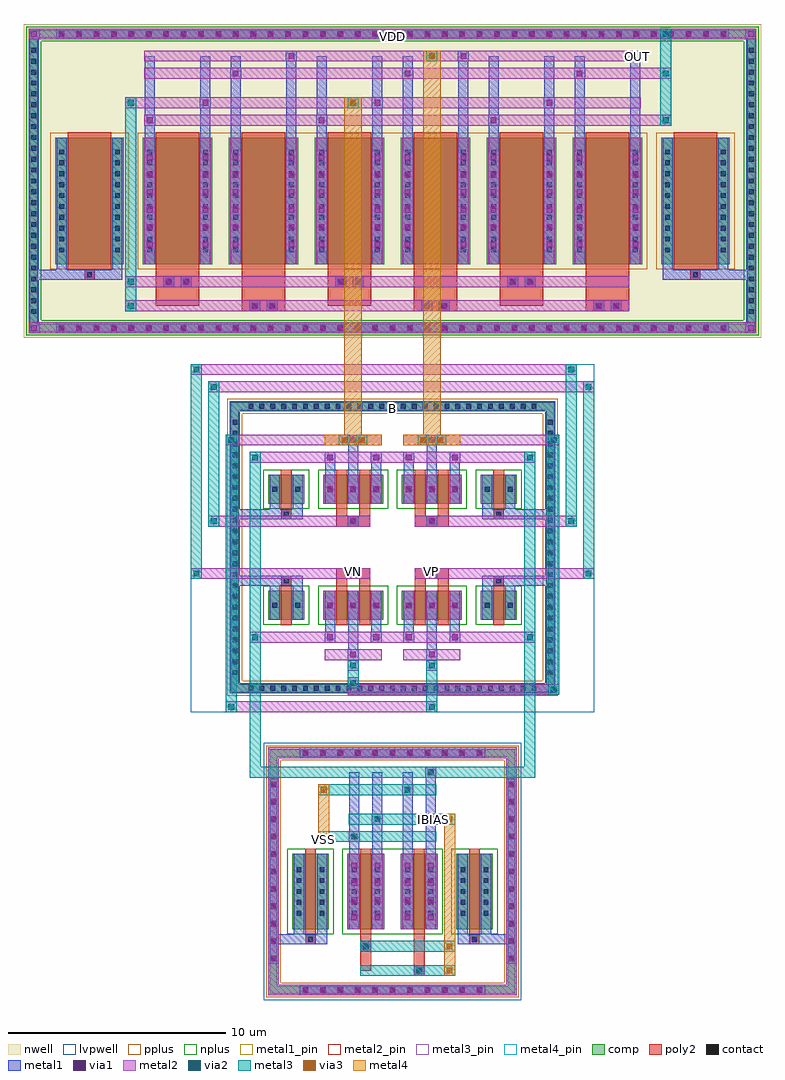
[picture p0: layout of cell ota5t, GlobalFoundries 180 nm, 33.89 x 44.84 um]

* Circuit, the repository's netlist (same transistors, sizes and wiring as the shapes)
* NGSPICE file created from ota5t.ext - technology: gf180mcuD

.subckt ota5t B VSS IBIAS VN VP VDD OUT
X0 a_n2175_3456# a_n2175_3456# VDD VDD pfet_03v3 ad=3.492p pd=12.84u as=3.492p ps=12.84u w=5.82u l=2u
X1 IBIAS IBIAS VSS B nfet_03v3 ad=2.07p pd=8.1u as=2.07p ps=8.1u w=3.45u l=0.5u
X2 B B B B nfet_03v3 ad=2.001p pd=8.06u as=14.1752p ps=62.8u w=3.45u l=0.5u
X3 a_n2175_3456# VP a_n638_572# B nfet_03v3 ad=0.3724p pd=1.89u as=0.798p ps=3.86u w=1.33u l=0.5u
X4 B B B B nfet_03v3 ad=0.7714p pd=3.82u as=0 ps=0 w=1.33u l=0.5u
X5 a_n638_572# VN OUT B nfet_03v3 ad=0.798p pd=3.86u as=0.3724p ps=1.89u w=1.33u l=0.5u
X6 B B B B nfet_03v3 ad=0.7714p pd=3.82u as=0 ps=0 w=1.33u l=0.5u
X7 VDD VDD VDD VDD pfet_03v3 ad=3.3756p pd=12.8u as=34.4544p ps=0.12824m w=5.82u l=2u
X8 B B B B nfet_03v3 ad=0.7714p pd=3.82u as=0 ps=0 w=1.33u l=0.5u
X9 OUT a_n2175_3456# VDD VDD pfet_03v3 ad=3.492p pd=12.84u as=3.492p ps=12.84u w=5.82u l=2u
X10 B B B B nfet_03v3 ad=2.001p pd=8.06u as=0 ps=0 w=3.45u l=0.5u
X11 OUT a_n2175_3456# VDD VDD pfet_03v3 ad=3.492p pd=12.84u as=3.492p ps=12.84u w=5.82u l=2u
X12 a_n2175_3456# VP a_n638_572# B nfet_03v3 ad=0.3724p pd=1.89u as=0.798p ps=3.86u w=1.33u l=0.5u
X13 a_n638_572# VP a_n2175_3456# B nfet_03v3 ad=0.798p pd=3.86u as=0.3724p ps=1.89u w=1.33u l=0.5u
X14 OUT VN a_n638_572# B nfet_03v3 ad=0.3724p pd=1.89u as=0.798p ps=3.86u w=1.33u l=0.5u
X15 OUT VN a_n638_572# B nfet_03v3 ad=0.3724p pd=1.89u as=0.798p ps=3.86u w=1.33u l=0.5u
X16 OUT a_n2175_3456# VDD VDD pfet_03v3 ad=3.492p pd=12.84u as=3.492p ps=12.84u w=5.82u l=2u
X17 B B B B nfet_03v3 ad=0.7714p pd=3.82u as=0 ps=0 w=1.33u l=0.5u
X18 a_n638_572# VP a_n2175_3456# B nfet_03v3 ad=0.798p pd=3.86u as=0.3724p ps=1.89u w=1.33u l=0.5u
X19 a_n2175_3456# a_n2175_3456# VDD VDD pfet_03v3 ad=3.492p pd=12.84u as=3.492p ps=12.84u w=5.82u l=2u
X20 a_n638_572# IBIAS VSS B nfet_03v3 ad=2.07p pd=8.1u as=2.07p ps=8.1u w=3.45u l=0.5u
X21 a_n638_572# VN OUT B nfet_03v3 ad=0.798p pd=3.86u as=0.3724p ps=1.89u w=1.33u l=0.5u
X22 a_n2175_3456# a_n2175_3456# VDD VDD pfet_03v3 ad=3.492p pd=12.84u as=3.492p ps=12.84u w=5.82u l=2u
X23 VDD VDD VDD VDD pfet_03v3 ad=3.3756p pd=12.8u as=0 ps=0 w=5.82u l=2u
.ends

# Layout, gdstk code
import gdstk
lib = gdstk.Library(unit=1e-6, precision=5e-09)
def R(c, l, rs):  # rectangles x0, y0, x1, y1
    for r in rs: c.add(gdstk.rectangle(r[:2], r[2:], *l))
def A(c, l, x, y, w, h, nx, ny, dx, dy):  # array of equal rectangles
    R(c, l, [(x+i*dx, y+j*dy, x+i*dx+w, y+j*dy+h) for i in range(nx) for j in range(ny)])
def P(c, l, *ps):  # polygons
    for p in ps: c.add(gdstk.Polygon(p, *l))
nwell = (21, 0)
comp = (22, 0)
poly2 = (30, 0)
pplus = (31, 0)
nplus = (32, 0)
contact = (33, 0)
metal1 = (34, 0)
metal1_pin = (34, 10)
via1 = (35, 0)
metal2 = (36, 0)
metal2_pin = (36, 10)
via2 = (38, 0)
via3 = (40, 0)
metal3 = (42, 0)
metal3_pin = (42, 10)
metal4 = (46, 0)
metal4_pin = (46, 10)
lvpwell = (204, 0)

ota5t = lib.new_cell('ota5t')
R(ota5t, nwell, [(-16.945,15.81,16.945,30.23), (-16.785,15.97,16.785,30.07), (-15.845,16.91,15.845,29.13)])
A(ota5t, comp, -4.18, -14.325, 0.36, 0.36, 11, 2, 0.8, 10.89)
A(ota5t, comp, -5.645, -12.88, 0.36, 0.36, 1, 11, 0, 0.8)
A(ota5t, comp, 5.285, -12.88, 0.36, 0.36, 1, 11, 0, 0.8)
A(ota5t, comp, -6.68, -0.47, 0.36, 0.36, 27, 2, 0.5, 12.96)
A(ota5t, comp, -7.42, 0.26, 0.36, 0.36, 1, 24, 0, 0.5)
A(ota5t, comp, 7.06, 0.26, 0.36, 0.36, 1, 24, 0, 0.5)
A(ota5t, comp, -15.38, 16.09, 0.36, 0.36, 39, 2, 0.8, 13.5)
A(ota5t, comp, -16.665, 16.84, 0.36, 0.36, 1, 25, 0, 0.5)
A(ota5t, comp, 16.305, 16.84, 0.36, 0.36, 1, 25, 0, 0.5)
A(ota5t, comp, -11.475, 19.19, 3.2, 5.82, 6, 1, 3.95, 0)
R(ota5t, comp, [(-4.18,-14.325,4.18,-13.965), (-5.645,-12.88,-5.285,-4.52), (5.285,-12.88,5.645,-4.52), (-4.595,-11.345,-2.935,-7.895), (-2.075,-11.345,-0.375,-7.895), (0.375,-11.345,2.075,-7.895), (2.935,-11.345,4.595,-7.895), (-4.18,-3.435,4.18,-3.075), (-6.68,-0.47,6.68,-0.11), (-7.42,0.26,-7.06,12.12), (7.06,0.26,7.42,12.12), (-5.71,2.86,-4.05,4.19), (-3.19,2.86,-0.43,4.19), (0.43,2.86,3.19,4.19), (4.05,2.86,5.71,4.19), (-5.71,8.19,-4.05,9.52), (-3.19,8.19,-0.43,9.52), (0.43,8.19,3.19,9.52), (4.05,8.19,5.71,9.52), (-6.68,12.49,6.68,12.85), (-15.38,16.09,15.38,16.45), (-16.665,16.84,-16.305,29.2), (16.305,16.84,16.665,29.2), (-15.495,19.19,-12.335,25.01), (12.335,19.19,15.495,25.01), (-15.38,29.59,15.38,29.95)])
P(ota5t, comp, [(7.42,12.85),(-7.42,12.85),(-7.42,-0.11),(-7.06,-0.11),(-7.06,12.49),(7.06,12.49),(7.06,-0.11),(-7.06,-0.11),(-7.42,-0.11),(-7.42,-0.47),(7.42,-0.47)],
  [(5.645,-3.075),(-5.645,-3.075),(-5.645,-13.965),(-5.285,-13.965),(-5.285,-3.435),(5.285,-3.435),(5.285,-13.965),(-5.285,-13.965),(-5.645,-13.965),(-5.645,-14.325),(5.645,-14.325)],
  [(16.665,29.95),(-16.665,29.95),(-16.665,16.45),(-16.305,16.45),(-16.305,29.59),(16.305,29.59),(16.305,16.45),(-16.305,16.45),(-16.665,16.45),(-16.665,16.09),(16.665,16.09)])
A(ota5t, poly2, -6.925, 17.03, 2, 0.5, 3, 1, 7.9, 0)
A(ota5t, poly2, -10.875, 17.28, 2, 1.665, 3, 1, 7.9, 0)
A(ota5t, poly2, -6.925, 17.53, 2, 1.415, 3, 1, 7.9, 0)
A(ota5t, poly2, -10.875, 18.14, 2, 0.5, 3, 1, 7.9, 0)
A(ota5t, poly2, -10.875, 18.64, 2, 0.305, 3, 1, 7.9, 0)
A(ota5t, poly2, -10.875, 18.945, 2, 6.31, 6, 1, 3.95, 0)
R(ota5t, poly2, [(0.975,-13.5,1.475,-13), (1.045,-13.43,1.405,-13.07), (-1.475,-13.25,-0.975,-11.585), (0.975,-13,1.475,-11.585), (-1.475,-12.39,-0.975,-11.89), (-1.405,-12.32,-1.045,-11.96), (-3.995,-12.045,-3.535,-11.585), (3.535,-12.045,3.995,-11.585), (-3.945,-11.995,-3.585,-11.635), (3.585,-11.995,3.945,-11.635), (-1.475,-11.89,-0.975,-11.585), (-4.015,-11.585,-3.515,-7.655), (-1.475,-11.585,-0.975,-7.655), (0.975,-11.585,1.475,-7.655), (3.515,-11.585,4.015,-7.655), (-5.13,2.62,-4.63,4.43), (-2.59,2.62,-2.09,4.43), (-1.53,2.62,-1.03,4.43), (1.03,2.62,1.53,4.43), (2.09,2.62,2.59,4.43), (4.63,2.62,5.13,4.43), (-5.11,4.43,-4.65,4.89), (-2.59,4.43,-2.09,4.735), (-1.53,4.43,-1.03,4.735), (1.03,4.43,1.53,4.735), (2.09,4.43,2.59,4.735), (4.65,4.43,5.11,4.89), (-5.06,4.48,-4.7,4.84), (4.7,4.48,5.06,4.84), (-2.59,4.735,-1.03,5.235), (1.03,4.735,2.59,5.235), (-1.99,4.805,-1.63,5.165), (1.63,4.805,1.99,5.165), (-2.59,7.145,-1.03,7.645), (1.03,7.145,2.59,7.645), (-1.99,7.215,-1.63,7.575), (1.63,7.215,1.99,7.575), (-5.11,7.49,-4.65,7.95), (4.65,7.49,5.11,7.95), (-5.06,7.54,-4.7,7.9), (4.7,7.54,5.06,7.9), (-2.59,7.645,-2.09,7.95), (-1.53,7.645,-1.03,7.95), (1.03,7.645,1.53,7.95), (2.09,7.645,2.59,7.95), (-5.13,7.95,-4.63,9.76), (-2.59,7.95,-2.09,9.76), (-1.53,7.95,-1.03,9.76), (1.03,7.95,1.53,9.76), (2.09,7.95,2.59,9.76), (4.63,7.95,5.13,9.76), (-6.505,17.1,-6.145,17.46), (-5.705,17.1,-5.345,17.46), (1.395,17.1,1.755,17.46), (2.195,17.1,2.555,17.46), (9.295,17.1,9.655,17.46), (10.095,17.1,10.455,17.46), (-10.455,18.21,-10.095,18.57), (-9.655,18.21,-9.295,18.57), (-2.555,18.21,-2.195,18.57), (-1.755,18.21,-1.395,18.57), (5.345,18.21,5.705,18.57), (6.145,18.21,6.505,18.57), (-14.145,18.485,-13.685,18.945), (13.685,18.485,14.145,18.945), (-14.095,18.535,-13.735,18.895), (13.735,18.535,14.095,18.895), (-14.915,18.945,-12.915,25.255), (12.915,18.945,14.915,25.255)])
A(ota5t, pplus, -11.705, 18.96, 3.66, 6.28, 6, 1, 3.95, 0)
R(ota5t, pplus, [(-15.725,18.96,-12.105,25.24), (-11.705,18.96,11.705,25.24), (12.105,18.96,15.725,25.24)])
P(ota5t, pplus, [(7.58,13.01),(-7.58,13.01),(-7.58,0.05),(-6.9,0.05),(-6.9,12.33),(6.9,12.33),(6.9,0.05),(-6.9,0.05),(-7.58,0.05),(-7.58,-0.63),(7.58,-0.63)],
  [(5.805,-2.915),(-5.805,-2.915),(-5.805,-13.805),(-5.125,-13.805),(-5.125,-3.595),(5.125,-3.595),(5.125,-13.805),(-5.125,-13.805),(-5.805,-13.805),(-5.805,-14.485),(5.805,-14.485)])
R(ota5t, nplus, [(-4.825,-11.575,-2.705,-7.665), (-2.305,-11.575,-0.145,-7.665), (-2.305,-11.575,2.305,-7.665), (0.145,-11.575,2.305,-7.665), (2.705,-11.575,4.825,-7.665), (-5.94,2.63,-3.82,4.42), (-3.42,2.63,-0.2,4.42), (0.2,2.63,3.42,4.42), (3.82,2.63,5.94,4.42), (-5.94,7.96,-3.82,9.75), (-3.42,7.96,-0.2,9.75), (0.2,7.96,3.42,9.75), (3.82,7.96,5.94,9.75)])
P(ota5t, nplus, [(16.825,30.11),(-16.825,30.11),(-16.825,16.61),(-16.145,16.61),(-16.145,29.43),(16.145,29.43),(16.145,16.61),(-16.145,16.61),(-16.825,16.61),(-16.825,15.93),(16.825,15.93)])
A(ota5t, contact, -4.11, -14.255, 0.22, 0.22, 11, 2, 0.8, 10.89)
A(ota5t, contact, -5.575, -12.81, 0.22, 0.22, 1, 11, 0, 0.8)
A(ota5t, contact, 5.355, -12.81, 0.22, 0.22, 1, 11, 0, 0.8)
A(ota5t, contact, -4.405, -10.73, 0.22, 0.22, 1, 5, 0, 0.5)
A(ota5t, contact, -3.345, -10.73, 0.22, 0.22, 1, 5, 0, 0.5)
A(ota5t, contact, -1.865, -10.73, 0.22, 0.22, 1, 5, 0, 0.5)
A(ota5t, contact, -0.805, -10.73, 0.22, 0.22, 1, 5, 0, 0.5)
A(ota5t, contact, 0.585, -10.73, 0.22, 0.22, 1, 5, 0, 0.5)
A(ota5t, contact, 1.645, -10.73, 0.22, 0.22, 1, 5, 0, 0.5)
A(ota5t, contact, 3.125, -10.73, 0.22, 0.22, 1, 5, 0, 0.5)
A(ota5t, contact, 4.185, -10.73, 0.22, 0.22, 1, 5, 0, 0.5)
A(ota5t, contact, -6.61, -0.4, 0.22, 0.22, 27, 2, 0.5, 12.96)
A(ota5t, contact, -7.35, 0.33, 0.22, 0.22, 1, 24, 0, 0.5)
A(ota5t, contact, 7.13, 0.33, 0.22, 0.22, 1, 24, 0, 0.5)
A(ota5t, contact, -2.98, 3.415, 0.22, 0.22, 3, 2, 1.06, 5.33)
A(ota5t, contact, 0.64, 3.415, 0.22, 0.22, 3, 2, 1.06, 5.33)
A(ota5t, contact, -15.31, 16.16, 0.22, 0.22, 39, 2, 0.8, 13.5)
A(ota5t, contact, -16.595, 16.91, 0.22, 0.22, 1, 25, 0, 0.5)
A(ota5t, contact, 16.375, 16.91, 0.22, 0.22, 1, 25, 0, 0.5)
A(ota5t, contact, -15.305, 19.74, 0.22, 0.22, 1, 10, 0, 0.5)
A(ota5t, contact, -12.745, 19.74, 0.22, 0.22, 1, 10, 0, 0.5)
A(ota5t, contact, -11.265, 19.74, 0.22, 0.22, 1, 10, 0, 0.5)
A(ota5t, contact, -8.705, 19.74, 0.22, 0.22, 1, 10, 0, 0.5)
A(ota5t, contact, -7.315, 19.74, 0.22, 0.22, 1, 10, 0, 0.5)
A(ota5t, contact, -4.755, 19.74, 0.22, 0.22, 1, 10, 0, 0.5)
A(ota5t, contact, -3.365, 19.74, 0.22, 0.22, 1, 10, 0, 0.5)
A(ota5t, contact, -0.805, 19.74, 0.22, 0.22, 1, 10, 0, 0.5)
A(ota5t, contact, 0.585, 19.74, 0.22, 0.22, 1, 10, 0, 0.5)
A(ota5t, contact, 3.145, 19.74, 0.22, 0.22, 1, 10, 0, 0.5)
A(ota5t, contact, 4.535, 19.74, 0.22, 0.22, 1, 10, 0, 0.5)
A(ota5t, contact, 7.095, 19.74, 0.22, 0.22, 1, 10, 0, 0.5)
A(ota5t, contact, 8.485, 19.74, 0.22, 0.22, 1, 10, 0, 0.5)
A(ota5t, contact, 11.045, 19.74, 0.22, 0.22, 1, 10, 0, 0.5)
A(ota5t, contact, 12.525, 19.74, 0.22, 0.22, 1, 10, 0, 0.5)
A(ota5t, contact, 15.085, 19.74, 0.22, 0.22, 1, 10, 0, 0.5)
R(ota5t, contact, [(1.115,-13.36,1.335,-13.14), (-1.335,-12.25,-1.115,-12.03), (-3.875,-11.925,-3.655,-11.705), (3.655,-11.925,3.875,-11.705), (-5.52,3.415,-5.3,3.635), (-4.46,3.415,-4.24,3.635), (4.24,3.415,4.46,3.635), (5.3,3.415,5.52,3.635), (-4.99,4.55,-4.77,4.77), (4.77,4.55,4.99,4.77), (-1.92,4.875,-1.7,5.095), (1.7,4.875,1.92,5.095), (-1.92,7.285,-1.7,7.505), (1.7,7.285,1.92,7.505), (-4.99,7.61,-4.77,7.83), (4.77,7.61,4.99,7.83), (-5.52,8.745,-5.3,8.965), (-4.46,8.745,-4.24,8.965), (4.24,8.745,4.46,8.965), (5.3,8.745,5.52,8.965), (-6.435,17.17,-6.215,17.39), (-5.635,17.17,-5.415,17.39), (1.465,17.17,1.685,17.39), (2.265,17.17,2.485,17.39), (9.365,17.17,9.585,17.39), (10.165,17.17,10.385,17.39), (-10.385,18.28,-10.165,18.5), (-9.585,18.28,-9.365,18.5), (-2.485,18.28,-2.265,18.5), (-1.685,18.28,-1.465,18.5), (5.415,18.28,5.635,18.5), (6.215,18.28,6.435,18.5), (-14.025,18.605,-13.805,18.825), (13.805,18.605,14.025,18.825)])
A(ota5t, metal1, -4.25, -14.395, 0.5, 0.5, 11, 2, 0.8, 10.89)
A(ota5t, metal1, -5.715, -12.95, 0.5, 0.5, 1, 11, 0, 0.8)
A(ota5t, metal1, 5.215, -12.95, 0.5, 0.5, 1, 11, 0, 0.8)
A(ota5t, metal1, -2.005, -11.07, 0.5, 0.5, 1, 4, 0, 0.8)
A(ota5t, metal1, -0.945, -11.07, 0.5, 0.5, 1, 4, 0, 0.8)
A(ota5t, metal1, 0.445, -11.07, 0.5, 0.5, 1, 4, 0, 0.8)
A(ota5t, metal1, 1.505, -11.07, 0.5, 0.5, 1, 4, 0, 0.8)
A(ota5t, metal1, -4.525, -10.85, 0.46, 0.46, 1, 5, 0, 0.5)
A(ota5t, metal1, -3.465, -10.85, 0.46, 0.46, 1, 5, 0, 0.5)
A(ota5t, metal1, -1.985, -10.85, 0.46, 0.46, 1, 5, 0, 0.5)
A(ota5t, metal1, -0.925, -10.85, 0.46, 0.46, 1, 5, 0, 0.5)
A(ota5t, metal1, 0.465, -10.85, 0.46, 0.46, 1, 5, 0, 0.5)
A(ota5t, metal1, 1.525, -10.85, 0.46, 0.46, 1, 5, 0, 0.5)
A(ota5t, metal1, 3.005, -10.85, 0.46, 0.46, 1, 5, 0, 0.5)
A(ota5t, metal1, 4.065, -10.85, 0.46, 0.46, 1, 5, 0, 0.5)
A(ota5t, metal1, -6.73, -0.52, 0.46, 0.46, 27, 2, 0.5, 12.96)
A(ota5t, metal1, -7.47, 0.21, 0.46, 0.46, 1, 24, 0, 0.5)
A(ota5t, metal1, 7.01, 0.21, 0.46, 0.46, 1, 24, 0, 0.5)
A(ota5t, metal1, -3.1, 2.86, 0.46, 1.33, 3, 2, 1.06, 5.33)
A(ota5t, metal1, 0.52, 2.86, 0.46, 1.33, 3, 2, 1.06, 5.33)
A(ota5t, metal1, -3.1, 3.295, 0.46, 0.46, 3, 2, 1.06, 5.33)
A(ota5t, metal1, 0.52, 3.295, 0.46, 0.46, 3, 2, 1.06, 5.33)
A(ota5t, metal1, -15.45, 16.02, 0.5, 0.5, 39, 2, 0.8, 13.5)
A(ota5t, metal1, -16.715, 16.79, 0.46, 0.46, 1, 25, 0, 0.5)
A(ota5t, metal1, 16.255, 16.79, 0.46, 0.46, 1, 25, 0, 0.5)
A(ota5t, metal1, -15.425, 19.62, 0.46, 0.46, 1, 10, 0, 0.5)
A(ota5t, metal1, -12.865, 19.62, 0.46, 0.46, 1, 10, 0, 0.5)
A(ota5t, metal1, -11.385, 19.62, 0.46, 0.46, 1, 10, 0, 0.5)
A(ota5t, metal1, -8.825, 19.62, 0.46, 0.46, 1, 10, 0, 0.5)
A(ota5t, metal1, -7.435, 19.62, 0.46, 0.46, 1, 10, 0, 0.5)
A(ota5t, metal1, -4.875, 19.62, 0.46, 0.46, 1, 10, 0, 0.5)
A(ota5t, metal1, -3.485, 19.62, 0.46, 0.46, 1, 10, 0, 0.5)
A(ota5t, metal1, -0.925, 19.62, 0.46, 0.46, 1, 10, 0, 0.5)
A(ota5t, metal1, 0.465, 19.62, 0.46, 0.46, 1, 10, 0, 0.5)
A(ota5t, metal1, 3.025, 19.62, 0.46, 0.46, 1, 10, 0, 0.5)
A(ota5t, metal1, 4.415, 19.62, 0.46, 0.46, 1, 10, 0, 0.5)
A(ota5t, metal1, 6.975, 19.62, 0.46, 0.46, 1, 10, 0, 0.5)
A(ota5t, metal1, 8.365, 19.62, 0.46, 0.46, 1, 10, 0, 0.5)
A(ota5t, metal1, 10.925, 19.62, 0.46, 0.46, 1, 10, 0, 0.5)
A(ota5t, metal1, 12.405, 19.62, 0.46, 0.46, 1, 10, 0, 0.5)
A(ota5t, metal1, 14.965, 19.62, 0.46, 0.46, 1, 10, 0, 0.5)
A(ota5t, metal1, -11.405, 19.85, 0.5, 0.5, 1, 6, 0, 0.8)
A(ota5t, metal1, -8.845, 19.85, 0.5, 0.5, 1, 6, 0, 0.8)
A(ota5t, metal1, -7.455, 19.85, 0.5, 0.5, 1, 6, 0, 0.8)
A(ota5t, metal1, -4.895, 19.85, 0.5, 0.5, 1, 6, 0, 0.8)
A(ota5t, metal1, -3.505, 19.85, 0.5, 0.5, 1, 6, 0, 0.8)
A(ota5t, metal1, -0.945, 19.85, 0.5, 0.5, 1, 6, 0, 0.8)
A(ota5t, metal1, 0.445, 19.85, 0.5, 0.5, 1, 6, 0, 0.8)
A(ota5t, metal1, 3.005, 19.85, 0.5, 0.5, 1, 6, 0, 0.8)
A(ota5t, metal1, 4.395, 19.85, 0.5, 0.5, 1, 6, 0, 0.8)
A(ota5t, metal1, 6.955, 19.85, 0.5, 0.5, 1, 6, 0, 0.8)
A(ota5t, metal1, 8.345, 19.85, 0.5, 0.5, 1, 6, 0, 0.8)
A(ota5t, metal1, 10.905, 19.85, 0.5, 0.5, 1, 6, 0, 0.8)
A(ota5t, metal1, -11.385, 25.01, 0.46, 1.05, 3, 1, 7.9, 0)
A(ota5t, metal1, -8.825, 25.01, 0.46, 1.85, 3, 1, 7.9, 0)
A(ota5t, metal1, -7.435, 25.01, 0.46, 3.2, 3, 1, 7.9, 0)
A(ota5t, metal1, -4.875, 25.01, 0.46, 4, 3, 1, 7.9, 0)
A(ota5t, metal1, -11.405, 25.56, 0.5, 0.5, 3, 1, 7.9, 0)
A(ota5t, metal1, -8.845, 26.36, 0.5, 0.5, 3, 1, 7.9, 0)
A(ota5t, metal1, -7.455, 27.71, 0.5, 0.5, 3, 1, 7.9, 0)
A(ota5t, metal1, -4.895, 28.51, 0.5, 0.5, 3, 1, 7.9, 0)
R(ota5t, metal1, [(-4.25,-14.395,4.25,-13.895), (0.975,-13.5,1.475,-13), (-5.715,-12.95,-5.215,-4.45), (5.215,-12.95,5.715,-4.45), (-1.475,-12.39,-0.975,-11.89), (-5.715,-12.045,-3.995,-11.585), (-4.525,-12.045,-3.995,-11.585), (-4.525,-12.045,-4.065,-11.345), (-3.995,-12.045,-3.535,-11.585), (-3.535,-12.045,-3.005,-11.585), (-3.465,-12.045,-3.005,-11.345), (3.005,-12.045,3.535,-11.585), (3.005,-12.045,3.465,-11.345), (3.535,-12.045,3.995,-11.585), (3.995,-12.045,4.525,-11.585), (3.995,-12.045,5.715,-11.585), (4.065,-12.045,4.525,-11.345), (-4.525,-11.345,-4.065,-7.895), (-3.465,-11.345,-3.005,-7.895), (-1.985,-11.345,-1.525,-7.895), (-0.925,-11.345,-0.465,-7.895), (0.465,-11.345,0.925,-7.895), (1.525,-11.345,1.985,-7.895), (3.005,-11.345,3.465,-7.895), (4.065,-11.345,4.525,-7.895), (-2.005,-11.07,-1.505,-8.17), (-0.945,-11.07,-0.445,-8.17), (0.445,-11.07,0.945,-8.17), (1.505,-11.07,2.005,-8.17), (-1.985,-7.895,-1.525,-6.845), (-1.985,-7.895,-1.525,-4.145), (-0.925,-7.895,-0.465,-6.045), (-0.925,-7.895,-0.465,-4.145), (0.465,-7.895,0.925,-4.695), (0.465,-7.895,0.925,-4.145), (1.525,-7.895,1.985,-3.895), (1.525,-7.895,1.985,-4.145), (-2.005,-7.345,-1.505,-6.845), (-0.945,-6.545,-0.445,-6.045), (0.445,-5.195,0.945,-4.695), (1.505,-4.395,2.005,-3.895), (-4.25,-3.505,4.25,-3.005), (-7.47,-0.52,-7.06,-0.06), (-7.47,-0.52,-7.01,-0.11), (-7.06,-0.52,7.06,-0.06), (7.01,-0.52,7.47,-0.11), (7.06,-0.52,7.47,-0.06), (-7.47,-0.11,-7.01,12.49), (7.01,-0.11,7.47,12.49), (-2.06,1.01,-1.56,1.51), (-2.04,1.01,-1.58,2.86), (1.56,1.01,2.06,1.51), (1.58,1.01,2.04,2.86), (-3.12,1.81,-2.62,2.31), (-3.1,1.81,-2.64,2.86), (-1,1.81,-0.5,2.31), (-0.98,1.81,-0.52,2.86), (0.5,1.81,1,2.31), (0.52,1.81,0.98,2.86), (2.62,1.81,3.12,2.31), (2.64,1.81,3.1,2.86), (-5.64,2.86,-5.18,4.19), (-4.58,2.86,-4.12,4.19), (4.12,2.86,4.58,4.19), (5.18,2.86,5.64,4.19), (-3.12,3.275,-2.62,3.775), (-3.12,3.275,-2.62,3.775), (-2.06,3.275,-1.56,3.775), (-2.06,3.275,-1.56,3.775), (-1,3.275,-0.5,3.775), (-1,3.275,-0.5,3.775), (0.5,3.275,1,3.775), (0.5,3.275,1,3.775), (1.56,3.275,2.06,3.775), (1.56,3.275,2.06,3.775), (2.62,3.275,3.12,3.775), (2.62,3.275,3.12,3.775), (-5.64,3.295,-5.18,3.755), (-4.58,3.295,-4.12,3.755), (4.12,3.295,4.58,3.755), (5.18,3.295,5.64,3.755), (-5.64,4.19,-5.18,4.89), (-4.58,4.19,-4.12,4.89), (4.12,4.19,4.58,4.89), (5.18,4.19,5.64,4.89), (-7.47,4.43,-5.11,4.89), (-5.64,4.43,-5.11,4.89), (-5.11,4.43,-4.65,4.89), (-4.65,4.43,-4.12,4.89), (4.12,4.43,4.65,4.89), (4.65,4.43,5.11,4.89), (4.65,4.43,7.47,4.89), (5.11,4.43,5.64,4.89), (-2.06,4.735,-1.56,5.235), (1.56,4.735,2.06,5.235), (-2.06,7.145,-1.56,7.645), (1.56,7.145,2.06,7.645), (-7.47,7.49,-5.11,7.95), (-5.64,7.49,-5.11,7.95), (-5.64,7.49,-5.18,8.19), (-5.11,7.49,-4.65,7.95), (-4.65,7.49,-4.12,7.95), (-4.58,7.49,-4.12,8.19), (4.12,7.49,4.65,7.95), (4.12,7.49,4.58,8.19), (4.65,7.49,5.11,7.95), (4.65,7.49,7.47,7.95), (5.11,7.49,5.64,7.95), (5.18,7.49,5.64,8.19), (-5.64,8.19,-5.18,9.52), (-4.58,8.19,-4.12,9.52), (4.12,8.19,4.58,9.52), (5.18,8.19,5.64,9.52), (-3.12,8.605,-2.62,9.105), (-3.12,8.605,-2.62,9.105), (-2.06,8.605,-1.56,9.105), (-2.06,8.605,-1.56,9.105), (-1,8.605,-0.5,9.105), (-1,8.605,-0.5,9.105), (0.5,8.605,1,9.105), (0.5,8.605,1,9.105), (1.56,8.605,2.06,9.105), (1.56,8.605,2.06,9.105), (2.62,8.605,3.12,9.105), (2.62,8.605,3.12,9.105), (-5.64,8.625,-5.18,9.085), (-4.58,8.625,-4.12,9.085), (4.12,8.625,4.58,9.085), (5.18,8.625,5.64,9.085), (-3.1,9.52,-2.64,10.57), (-2.04,9.52,-1.58,11.37), (-0.98,9.52,-0.52,10.57), (0.52,9.52,0.98,10.57), (1.58,9.52,2.04,11.37), (2.64,9.52,3.1,10.57), (-3.12,10.07,-2.62,10.57), (-1,10.07,-0.5,10.57), (0.5,10.07,1,10.57), (2.62,10.07,3.12,10.57), (-2.06,10.87,-1.56,11.37), (1.56,10.87,2.06,11.37), (-7.47,12.44,-7.06,12.9), (-7.06,12.44,7.06,12.9), (7.06,12.44,7.47,12.9), (-7.47,12.49,-7.01,12.9), (7.01,12.49,7.47,12.9), (-16.715,16.02,-16.215,16.52), (-16.715,16.02,-16.215,16.52), (-16.715,16.02,-16.255,16.45), (-15.45,16.02,15.45,16.52), (16.215,16.02,16.715,16.52), (16.215,16.02,16.715,16.52), (16.255,16.02,16.715,16.45), (-16.715,16.45,-16.255,29.59), (16.255,16.45,16.715,29.59), (-6.575,17.03,-6.075,17.53), (-5.775,17.03,-5.275,17.53), (1.325,17.03,1.825,17.53), (2.125,17.03,2.625,17.53), (9.225,17.03,9.725,17.53), (10.025,17.03,10.525,17.53), (-10.525,18.14,-10.025,18.64), (-9.725,18.14,-9.225,18.64), (-2.625,18.14,-2.125,18.64), (-1.825,18.14,-1.325,18.64), (5.275,18.14,5.775,18.64), (6.075,18.14,6.575,18.64), (-16.715,18.485,-14.145,18.945), (-15.425,18.485,-14.145,18.945), (-15.425,18.485,-14.965,19.19), (-14.145,18.485,-13.685,18.945), (-13.685,18.485,-12.405,18.945), (-12.865,18.485,-12.405,19.19), (12.405,18.485,13.685,18.945), (12.405,18.485,12.865,19.19), (13.685,18.485,14.145,18.945), (14.145,18.485,15.425,18.945), (14.145,18.485,16.715,18.945), (14.965,18.485,15.425,19.19), (-15.425,19.19,-14.965,25.01), (-12.865,19.19,-12.405,25.01), (-11.385,19.19,-10.925,25.01), (-8.825,19.19,-8.365,25.01), (-7.435,19.19,-6.975,25.01), (-4.875,19.19,-4.415,25.01), (-3.485,19.19,-3.025,25.01), (-0.925,19.19,-0.465,25.01), (0.465,19.19,0.925,25.01), (3.025,19.19,3.485,25.01), (4.415,19.19,4.875,25.01), (6.975,19.19,7.435,25.01), (8.365,19.19,8.825,25.01), (10.925,19.19,11.385,25.01), (12.405,19.19,12.865,25.01), (14.965,19.19,15.425,25.01), (-11.405,19.85,-10.905,24.35), (-8.845,19.85,-8.345,24.35), (-7.455,19.85,-6.955,24.35), (-4.895,19.85,-4.395,24.35), (-3.505,19.85,-3.005,24.35), (-0.945,19.85,-0.445,24.35), (0.445,19.85,0.945,24.35), (3.005,19.85,3.505,24.35), (4.395,19.85,4.895,24.35), (6.955,19.85,7.455,24.35), (8.345,19.85,8.845,24.35), (10.905,19.85,11.405,24.35), (-11.385,25.01,-10.925,28.76), (-8.825,25.01,-8.365,28.76), (-7.435,25.01,-6.975,28.76), (-4.875,25.01,-4.415,28.76), (-3.485,25.01,-3.025,28.76), (-0.925,25.01,-0.465,28.76), (0.465,25.01,0.925,28.76), (3.025,25.01,3.485,28.76), (4.415,25.01,4.875,28.76), (6.975,25.01,7.435,28.76), (8.365,25.01,8.825,28.76), (10.925,25.01,11.385,28.76), (-16.715,29.52,-16.215,30.02), (-16.715,29.52,-16.215,30.02), (-15.45,29.52,15.45,30.02), (16.215,29.52,16.715,30.02), (16.215,29.52,16.715,30.02), (-16.715,29.59,-16.255,30.02), (16.255,29.59,16.715,30.02)])
R(ota5t, metal1_pin, [(-0.135,12.44,0.135,12.71), (-0.135,12.44,0.135,12.71)])
A(ota5t, via1, -4.13, -14.275, 0.26, 0.26, 11, 2, 0.8, 10.89)
A(ota5t, via1, -5.595, -12.83, 0.26, 0.26, 1, 11, 0, 0.8)
A(ota5t, via1, 5.335, -12.83, 0.26, 0.26, 1, 11, 0, 0.8)
A(ota5t, via1, -1.885, -10.95, 0.26, 0.26, 1, 4, 0, 0.8)
A(ota5t, via1, -0.825, -10.95, 0.26, 0.26, 1, 4, 0, 0.8)
A(ota5t, via1, 0.565, -10.95, 0.26, 0.26, 1, 4, 0, 0.8)
A(ota5t, via1, 1.625, -10.95, 0.26, 0.26, 1, 4, 0, 0.8)
A(ota5t, via1, -3, 3.395, 0.26, 0.26, 3, 2, 1.06, 5.33)
A(ota5t, via1, 0.62, 3.395, 0.26, 0.26, 3, 2, 1.06, 5.33)
A(ota5t, via1, -15.33, 16.14, 0.26, 0.26, 39, 2, 0.8, 13.5)
A(ota5t, via1, -11.285, 19.97, 0.26, 0.26, 1, 6, 0, 0.8)
A(ota5t, via1, -8.725, 19.97, 0.26, 0.26, 1, 6, 0, 0.8)
A(ota5t, via1, -7.335, 19.97, 0.26, 0.26, 1, 6, 0, 0.8)
A(ota5t, via1, -4.775, 19.97, 0.26, 0.26, 1, 6, 0, 0.8)
A(ota5t, via1, -3.385, 19.97, 0.26, 0.26, 1, 6, 0, 0.8)
A(ota5t, via1, -0.825, 19.97, 0.26, 0.26, 1, 6, 0, 0.8)
A(ota5t, via1, 0.565, 19.97, 0.26, 0.26, 1, 6, 0, 0.8)
A(ota5t, via1, 3.125, 19.97, 0.26, 0.26, 1, 6, 0, 0.8)
A(ota5t, via1, 4.515, 19.97, 0.26, 0.26, 1, 6, 0, 0.8)
A(ota5t, via1, 7.075, 19.97, 0.26, 0.26, 1, 6, 0, 0.8)
A(ota5t, via1, 8.465, 19.97, 0.26, 0.26, 1, 6, 0, 0.8)
A(ota5t, via1, 11.025, 19.97, 0.26, 0.26, 1, 6, 0, 0.8)
A(ota5t, via1, -11.285, 25.68, 0.26, 0.26, 3, 1, 7.9, 0)
A(ota5t, via1, -8.725, 26.48, 0.26, 0.26, 3, 1, 7.9, 0)
A(ota5t, via1, -7.335, 27.83, 0.26, 0.26, 3, 1, 7.9, 0)
A(ota5t, via1, -4.775, 28.63, 0.26, 0.26, 3, 1, 7.9, 0)
R(ota5t, via1, [(1.095,-13.38,1.355,-13.12), (-1.355,-12.27,-1.095,-12.01), (-1.885,-7.225,-1.625,-6.965), (-0.825,-6.425,-0.565,-6.165), (0.565,-5.075,0.825,-4.815), (1.625,-4.275,1.885,-4.015), (-1.94,1.13,-1.68,1.39), (1.68,1.13,1.94,1.39), (-3,1.93,-2.74,2.19), (-0.88,1.93,-0.62,2.19), (0.62,1.93,0.88,2.19), (2.74,1.93,3,2.19), (-1.94,4.855,-1.68,5.115), (1.68,4.855,1.94,5.115), (-1.94,7.265,-1.68,7.525), (1.68,7.265,1.94,7.525), (-3,10.19,-2.74,10.45), (-0.88,10.19,-0.62,10.45), (0.62,10.19,0.88,10.45), (2.74,10.19,3,10.45), (-1.94,10.99,-1.68,11.25), (1.68,10.99,1.94,11.25), (-16.595,16.14,-16.335,16.4), (16.335,16.14,16.595,16.4), (-6.455,17.15,-6.195,17.41), (-5.655,17.15,-5.395,17.41), (1.445,17.15,1.705,17.41), (2.245,17.15,2.505,17.41), (9.345,17.15,9.605,17.41), (10.145,17.15,10.405,17.41), (-10.405,18.26,-10.145,18.52), (-9.605,18.26,-9.345,18.52), (-2.505,18.26,-2.245,18.52), (-1.705,18.26,-1.445,18.52), (5.395,18.26,5.655,18.52), (6.195,18.26,6.455,18.52), (-16.595,29.64,-16.335,29.9), (16.335,29.64,16.595,29.9)])
A(ota5t, metal2, -4.25, -14.395, 0.5, 0.5, 11, 2, 0.8, 10.89)
A(ota5t, metal2, -5.715, -12.95, 0.5, 0.5, 1, 11, 0, 0.8)
A(ota5t, metal2, 5.215, -12.95, 0.5, 0.5, 1, 11, 0, 0.8)
A(ota5t, metal2, -2.005, -11.07, 0.5, 0.5, 1, 4, 0, 0.8)
A(ota5t, metal2, -0.945, -11.07, 0.5, 0.5, 1, 4, 0, 0.8)
A(ota5t, metal2, 0.445, -11.07, 0.5, 0.5, 1, 4, 0, 0.8)
A(ota5t, metal2, 1.505, -11.07, 0.5, 0.5, 1, 4, 0, 0.8)
A(ota5t, metal2, -3.12, 2.86, 0.5, 1.33, 3, 2, 1.06, 5.33)
A(ota5t, metal2, 0.5, 2.86, 0.5, 1.33, 3, 2, 1.06, 5.33)
A(ota5t, metal2, -3.12, 3.275, 0.5, 0.5, 3, 2, 1.06, 5.33)
A(ota5t, metal2, 0.5, 3.275, 0.5, 0.5, 3, 2, 1.06, 5.33)
A(ota5t, metal2, -15.45, 16.02, 0.5, 0.5, 39, 1, 0.8, 0)
A(ota5t, metal2, -6.925, 17.03, 2, 0.5, 3, 1, 7.9, 0)
A(ota5t, metal2, -10.875, 18.14, 2, 0.5, 3, 1, 7.9, 0)
A(ota5t, metal2, -11.405, 19.85, 0.5, 0.5, 1, 6, 0, 0.8)
A(ota5t, metal2, -8.845, 19.85, 0.5, 0.5, 1, 6, 0, 0.8)
A(ota5t, metal2, -7.455, 19.85, 0.5, 0.5, 1, 6, 0, 0.8)
A(ota5t, metal2, -4.895, 19.85, 0.5, 0.5, 1, 6, 0, 0.8)
A(ota5t, metal2, -3.505, 19.85, 0.5, 0.5, 1, 6, 0, 0.8)
A(ota5t, metal2, -0.945, 19.85, 0.5, 0.5, 1, 6, 0, 0.8)
A(ota5t, metal2, 0.445, 19.85, 0.5, 0.5, 1, 6, 0, 0.8)
A(ota5t, metal2, 3.005, 19.85, 0.5, 0.5, 1, 6, 0, 0.8)
A(ota5t, metal2, 4.395, 19.85, 0.5, 0.5, 1, 6, 0, 0.8)
A(ota5t, metal2, 6.955, 19.85, 0.5, 0.5, 1, 6, 0, 0.8)
A(ota5t, metal2, 8.345, 19.85, 0.5, 0.5, 1, 6, 0, 0.8)
A(ota5t, metal2, 10.905, 19.85, 0.5, 0.5, 1, 6, 0, 0.8)
A(ota5t, metal2, -11.405, 25.56, 0.5, 0.5, 3, 1, 7.9, 0)
A(ota5t, metal2, -11.405, 25.56, 3.06, 0.5, 3, 2, 7.9, 0.8)
A(ota5t, metal2, -8.845, 26.36, 0.5, 0.5, 3, 1, 7.9, 0)
A(ota5t, metal2, -7.455, 27.71, 0.5, 0.5, 3, 1, 7.9, 0)
A(ota5t, metal2, -7.455, 27.71, 3.06, 0.5, 3, 2, 7.9, 0.8)
A(ota5t, metal2, -4.895, 28.51, 0.5, 0.5, 3, 1, 7.9, 0)
A(ota5t, metal2, -15.45, 29.52, 0.5, 0.5, 35, 1, 0.8, 0)
A(ota5t, metal2, 12.55, 29.52, 0.5, 0.5, 4, 1, 0.8, 0)
R(ota5t, metal2, [(-5.715,-14.395,-5.285,-13.895), (-5.715,-14.395,-5.215,-13.965), (-5.285,-14.395,5.285,-13.895), (5.215,-14.395,5.715,-13.965), (5.285,-14.395,5.715,-13.895), (-5.715,-13.965,-5.215,-3.435), (5.215,-13.965,5.715,-3.435), (0.975,-13.5,1.475,-13), (-1.475,-12.39,-0.975,-11.89), (-2.005,-11.345,-1.505,-7.895), (-0.945,-11.345,-0.445,-7.895), (0.445,-11.345,0.945,-7.895), (1.505,-11.345,2.005,-7.895), (-2.005,-7.345,-1.505,-6.845), (-0.945,-6.545,-0.445,-6.045), (0.445,-5.195,0.945,-4.695), (1.505,-4.395,2.005,-3.895), (-5.715,-3.505,-5.285,-3.005), (-5.285,-3.505,5.285,-3.005), (5.285,-3.505,5.715,-3.005), (-5.715,-3.435,-5.215,-3.005), (5.215,-3.435,5.715,-3.005), (-7.66,-1.39,-7.16,-0.89), (-7.66,-1.39,2.06,-0.89), (1.56,-1.39,2.06,-0.89), (-2.06,-0.59,7.66,-0.09), (7.16,-0.59,7.66,-0.09), (-2.06,-0.29,-1.56,0.21), (-2.06,0.51,-1.56,1.01), (1.56,0.51,2.06,1.01), (-3.12,1.01,-0.5,1.51), (-2.06,1.01,-1.56,1.51), (0.5,1.01,3.12,1.51), (1.56,1.01,2.06,1.51), (-6.56,1.81,-6.06,2.31), (-6.56,1.81,-3.12,2.31), (-3.12,1.81,-2.62,2.31), (-3.12,1.81,-0.5,2.31), (-1,1.81,-0.5,2.31), (-0.5,1.81,0.5,2.31), (0.5,1.81,1,2.31), (0.5,1.81,3.12,2.31), (2.62,1.81,3.12,2.31), (3.12,1.81,6.56,2.31), (6.06,1.81,6.56,2.31), (-9.26,4.735,-8.76,5.235), (-9.26,4.735,-1.03,5.235), (-2.59,4.735,-1.03,5.235), (-2.06,4.735,-1.56,5.235), (1.03,4.735,2.59,5.235), (1.03,4.735,9.26,5.235), (1.56,4.735,2.06,5.235), (8.76,4.735,9.26,5.235), (-8.46,7.145,-7.96,7.645), (-8.46,7.145,-2.59,7.645), (-2.59,7.145,-1.03,7.645), (-2.06,7.145,-1.56,7.645), (1.03,7.145,2.59,7.645), (1.56,7.145,2.06,7.645), (2.59,7.145,8.46,7.645), (7.96,7.145,8.46,7.645), (-6.56,10.07,-6.06,10.57), (-6.56,10.07,-3.12,10.57), (-3.12,10.07,-2.62,10.57), (-3.12,10.07,-0.5,10.57), (-1,10.07,-0.5,10.57), (-0.5,10.07,0.5,10.57), (0.5,10.07,1,10.57), (0.5,10.07,3.12,10.57), (2.62,10.07,3.12,10.57), (3.12,10.07,6.56,10.57), (6.06,10.07,6.56,10.57), (-7.66,10.87,-7.16,11.37), (-7.66,10.87,-3.12,11.37), (-3.12,10.87,-0.5,11.37), (-2.06,10.87,-1.56,11.37), (0.5,10.87,3.12,11.37), (1.56,10.87,2.06,11.37), (3.12,10.87,7.66,11.37), (7.16,10.87,7.66,11.37), (-8.46,13.31,-7.96,13.81), (-8.46,13.31,-6.06,13.81), (-6.06,13.31,6.06,13.81), (6.06,13.31,9.26,13.81), (8.76,13.31,9.26,13.81), (-9.26,14.11,-8.76,14.61), (-9.26,14.11,-6.06,14.61), (-6.06,14.11,6.06,14.61), (6.06,14.11,8.46,14.61), (7.96,14.11,8.46,14.61), (-16.715,16.02,-16.215,16.52), (-16.715,16.02,-16.215,16.52), (-16.715,16.02,-16.305,16.52), (-16.305,16.02,16.305,16.52), (16.215,16.02,16.715,16.52), (16.215,16.02,16.715,16.52), (16.305,16.02,16.715,16.52), (-12.275,17.03,-11.775,17.53), (-12.275,17.03,-10.875,17.53), (-10.875,17.03,10.875,17.53), (-6.575,17.03,-6.075,17.53), (-5.775,17.03,-5.275,17.53), (1.325,17.03,1.825,17.53), (2.125,17.03,2.625,17.53), (9.225,17.03,9.725,17.53), (10.025,17.03,10.525,17.53), (-12.275,18.14,-11.775,18.64), (-12.275,18.14,-10.875,18.64), (-10.875,18.14,10.875,18.64), (-10.525,18.14,-10.025,18.64), (-9.725,18.14,-9.225,18.64), (-2.625,18.14,-2.125,18.64), (-1.825,18.14,-1.325,18.64), (5.275,18.14,5.775,18.64), (6.075,18.14,6.575,18.64), (-11.405,19.19,-10.905,25.01), (-8.845,19.19,-8.345,25.01), (-7.455,19.19,-6.955,25.01), (-4.895,19.19,-4.395,25.01), (-3.505,19.19,-3.005,25.01), (-0.945,19.19,-0.445,25.01), (0.445,19.19,0.945,25.01), (3.005,19.19,3.505,25.01), (4.395,19.19,4.895,25.01), (6.955,19.19,7.455,25.01), (8.345,19.19,8.845,25.01), (10.905,19.19,11.405,25.01), (-11.405,25.56,11.405,26.06), (11.405,25.56,12.805,26.06), (12.305,25.56,12.805,26.06), (-12.275,26.36,-11.775,26.86), (-12.275,26.36,-11.775,26.86), (-12.275,26.36,-11.405,26.86), (-11.405,26.36,11.405,26.86), (-11.405,27.71,11.405,28.21), (11.405,27.71,12.805,28.21), (12.305,27.71,12.805,28.21), (-11.405,28.51,11.405,29.01), (-16.715,29.52,-16.215,30.02), (-16.715,29.52,-16.215,30.02), (-16.715,29.52,-16.305,30.02), (-16.305,29.52,16.305,30.02), (12.305,29.52,12.805,30.02), (16.215,29.52,16.715,30.02), (16.215,29.52,16.715,30.02), (16.305,29.52,16.715,30.02)])
R(ota5t, metal2_pin, [(-1.945,4.965,-1.675,5.235), (-1.945,4.965,-1.675,5.235), (1.675,4.965,1.945,5.235), (1.675,4.965,1.945,5.235), (-1.945,11.1,-1.675,11.37), (1.675,11.1,1.945,11.37), (11.135,28.625,11.405,28.895), (-0.135,29.52,0.135,29.79)])
R(ota5t, via2, [(1.095,-13.38,1.355,-13.12), (-1.355,-12.27,-1.095,-12.01), (-1.885,-7.225,-1.625,-6.965), (-0.825,-6.425,-0.565,-6.165), (0.565,-5.075,0.825,-4.815), (1.625,-4.275,1.885,-4.015), (-7.54,-1.27,-7.28,-1.01), (1.68,-1.27,1.94,-1.01), (7.28,-0.47,7.54,-0.21), (-1.94,-0.17,-1.68,0.09), (-1.94,0.63,-1.68,0.89), (1.68,0.63,1.94,0.89), (-6.44,1.93,-6.18,2.19), (6.18,1.93,6.44,2.19), (-9.14,4.855,-8.88,5.115), (8.88,4.855,9.14,5.115), (-8.34,7.265,-8.08,7.525), (8.08,7.265,8.34,7.525), (-6.44,10.19,-6.18,10.45), (6.18,10.19,6.44,10.45), (-7.54,10.99,-7.28,11.25), (-2.34,10.99,-2.08,11.25), (-1.54,10.99,-1.28,11.25), (1.28,10.99,1.54,11.25), (2.08,10.99,2.34,11.25), (7.28,10.99,7.54,11.25), (-8.34,13.43,-8.08,13.69), (8.88,13.43,9.14,13.69), (-9.14,14.23,-8.88,14.49), (8.08,14.23,8.34,14.49), (-12.155,17.15,-11.895,17.41), (-12.155,18.26,-11.895,18.52), (12.425,25.68,12.685,25.94), (-12.155,26.48,-11.895,26.74), (-1.94,26.48,-1.68,26.74), (12.425,27.83,12.685,28.09), (1.68,28.63,1.94,28.89), (12.425,29.64,12.685,29.9)])
R(ota5t, via3, [(2.495,-13.38,2.755,-13.12), (2.495,-12.27,2.755,-12.01), (-3.285,-7.225,-3.025,-6.965), (2.495,-6.425,2.755,-6.165), (-3.285,-5.075,-3.025,-4.815), (-2.34,10.99,-2.08,11.25), (-1.54,10.99,-1.28,11.25), (1.28,10.99,1.54,11.25), (2.08,10.99,2.34,11.25), (-1.94,26.48,-1.68,26.74), (1.68,28.63,1.94,28.89)])
R(ota5t, metal3, [(-1.475,-13.5,1.475,-13), (0.975,-13.5,1.475,-13), (0.975,-13.5,1.475,-13), (1.475,-13.5,2.875,-13), (2.375,-13.5,2.875,-13), (-1.475,-12.39,-0.975,-11.89), (-1.475,-12.39,-0.975,-11.89), (-1.475,-12.39,1.475,-11.89), (1.475,-12.39,2.875,-11.89), (2.375,-12.39,2.875,-11.89), (-3.405,-7.345,-2.905,-6.845), (-3.405,-7.345,-2.005,-6.845), (-2.005,-7.345,-1.505,-6.845), (-2.005,-7.345,-0.445,-6.845), (-2.005,-7.345,2.005,-6.845), (-2.005,-6.545,-0.445,-6.045), (-2.005,-6.545,2.005,-6.045), (-0.945,-6.545,-0.445,-6.045), (2.005,-6.545,2.875,-6.045), (2.375,-6.545,2.875,-6.045), (2.375,-6.545,2.875,-6.045), (-3.405,-5.195,-2.905,-4.695), (-3.405,-5.195,-2.005,-4.695), (-2.005,-5.195,2.005,-4.695), (0.445,-5.195,0.945,-4.695), (0.445,-5.195,2.005,-4.695), (-6.56,-4.395,-2.005,-3.895), (-6.56,-4.395,-6.06,1.81), (-2.005,-4.395,2.005,-3.895), (0.445,-4.395,2.005,-3.895), (1.505,-4.395,2.005,-3.895), (2.005,-4.395,6.56,-3.895), (6.06,-4.395,6.56,1.81), (-7.66,-1.39,-7.16,-0.89), (-7.66,-1.39,-7.16,-0.89), (-7.66,-1.39,-7.16,11.37), (1.56,-1.39,2.06,-0.89), (1.56,-0.89,2.06,0.51), (7.16,-0.59,7.66,-0.09), (7.16,-0.59,7.66,-0.09), (7.16,-0.59,7.66,11.37), (-2.06,-0.29,-1.56,0.21), (-2.06,0.21,-1.56,0.51), (-2.06,0.51,-1.56,1.01), (1.56,0.51,2.06,1.01), (-6.56,1.81,-6.06,2.31), (-6.56,1.81,-6.06,2.31), (-6.56,1.81,-6.06,10.57), (6.06,1.81,6.56,2.31), (6.06,1.81,6.56,2.31), (6.06,1.81,6.56,10.57), (-9.26,4.735,-8.76,5.235), (-9.26,4.735,-8.76,5.235), (-9.26,4.735,-8.76,14.61), (8.76,4.735,9.26,5.235), (8.76,4.735,9.26,5.235), (8.76,4.735,9.26,13.81), (-8.46,7.145,-7.96,7.645), (-8.46,7.145,-7.96,7.645), (-8.46,7.145,-7.96,13.81), (7.96,7.145,8.46,7.645), (7.96,7.145,8.46,7.645), (7.96,7.145,8.46,14.61), (-6.56,10.07,-6.06,10.57), (-6.56,10.07,-6.06,10.57), (6.06,10.07,6.56,10.57), (6.06,10.07,6.56,10.57), (-7.66,10.87,-7.16,11.37), (-7.66,10.87,-7.16,11.37), (-2.46,10.87,-1.96,11.37), (-1.66,10.87,-1.16,11.37), (1.16,10.87,1.66,11.37), (1.96,10.87,2.46,11.37), (7.16,10.87,7.66,11.37), (7.16,10.87,7.66,11.37), (-8.46,13.31,-7.96,13.81), (-8.46,13.31,-7.96,13.81), (8.76,13.31,9.26,13.81), (8.76,13.31,9.26,13.81), (-9.26,14.11,-8.76,14.61), (-9.26,14.11,-8.76,14.61), (7.96,14.11,8.46,14.61), (7.96,14.11,8.46,14.61), (-12.275,17.03,-11.775,17.53), (-12.275,17.03,-11.775,17.53), (-12.275,17.03,-11.775,18.64), (-12.275,18.14,-11.775,18.64), (-12.275,18.14,-11.775,18.64), (-12.275,18.64,-11.775,26.86), (12.305,25.56,12.805,26.06), (12.305,25.56,12.805,26.06), (12.305,25.56,12.805,28.21), (-12.275,26.36,-11.775,26.86), (-12.275,26.36,-11.775,26.86), (-2.06,26.36,-1.56,26.86), (12.305,27.71,12.805,28.21), (12.305,27.71,12.805,28.21), (12.305,28.21,12.805,29.52), (1.56,28.51,2.06,29.01), (12.305,29.52,12.805,30.02)])
P(ota5t, metal3, [(9.26,4.735),(9.26,4.735),(9.26,5.235),(9.26,5.235)],
  [(9.26,13.31),(9.26,13.31),(9.26,13.81),(9.26,13.81)],
  [(-8.76,4.735),(-8.76,4.735),(-8.76,5.235),(-8.76,5.235)],
  [(-8.76,14.11),(-8.76,14.11),(-8.76,14.61),(-8.76,14.61)],
  [(8.46,7.145),(8.46,7.145),(8.46,7.645),(8.46,7.645)],
  [(8.46,14.11),(8.46,14.11),(8.46,14.61),(8.46,14.61)],
  [(-7.96,7.145),(-7.96,7.145),(-7.96,7.645),(-7.96,7.645)],
  [(-7.96,13.31),(-7.96,13.31),(-7.96,13.81),(-7.96,13.81)],
  [(-7.16,-1.39),(-7.16,-1.39),(-7.16,-0.89),(-7.16,-0.89)],
  [(-7.16,10.87),(-7.16,10.87),(-7.16,11.37),(-7.16,11.37)],
  [(7.66,-0.59),(7.66,-0.59),(7.66,-0.09),(7.66,-0.09)],
  [(7.66,10.87),(7.66,10.87),(7.66,11.37),(7.66,11.37)],
  [(-6.06,1.81),(-6.06,1.81),(-6.06,2.31),(-6.06,2.31)],
  [(-6.06,10.07),(-6.06,10.07),(-6.06,10.57),(-6.06,10.57)],
  [(6.56,1.81),(6.56,1.81),(6.56,2.31),(6.56,2.31)],
  [(6.56,10.07),(6.56,10.07),(6.56,10.57),(6.56,10.57)],
  [(12.805,25.56),(12.805,25.56),(12.805,26.06),(12.805,26.06)],
  [(12.805,27.71),(12.805,27.71),(12.805,28.21),(12.805,28.21)],
  [(-11.775,17.03),(-11.775,17.03),(-11.775,17.53),(-11.775,17.53)],
  [(-11.775,18.14),(-11.775,18.14),(-11.775,18.64),(-11.775,18.64)])
R(ota5t, metal3_pin, [(1.735,-6.43,2.005,-6.16), (1.735,-6.43,2.005,-6.16)])
R(ota5t, metal4, [(2.375,-13.5,2.875,-13), (2.375,-13.5,2.875,-13), (2.375,-13.5,2.875,-11.89), (2.375,-12.39,2.875,-11.89), (2.375,-12.39,2.875,-11.89), (2.375,-11.89,2.875,-6.045), (-3.405,-7.345,-2.905,-6.845), (-3.405,-7.345,-2.905,-6.845), (-3.405,-7.345,-2.905,-4.695), (2.375,-6.545,2.875,-6.045), (2.375,-6.545,2.875,-6.045), (-3.405,-5.195,-2.905,-4.695), (-3.405,-5.195,-2.905,-4.695), (-3.12,10.87,-0.5,11.37), (-2.92,10.87,-0.7,11.37), (-2.46,10.87,-1.96,11.37), (-1.66,10.87,-1.16,11.37), (0.5,10.87,3.12,11.37), (0.7,10.87,2.92,11.37), (1.16,10.87,1.66,11.37), (1.96,10.87,2.46,11.37), (-2.21,11.12,-1.41,26.61), (1.41,11.12,2.21,28.76), (-2.21,26.36,-1.41,26.86), (-2.06,26.36,-1.56,26.86), (1.41,28.51,2.21,29.01), (1.56,28.51,2.06,29.01)])
P(ota5t, metal4, [(2.875,-13.5),(2.875,-13.5),(2.875,-13),(2.875,-13)],
  [(2.875,-12.39),(2.875,-12.39),(2.875,-11.89),(2.875,-11.89)],
  [(-2.905,-7.345),(-2.905,-7.345),(-2.905,-6.845),(-2.905,-6.845)],
  [(-2.905,-5.195),(-2.905,-5.195),(-2.905,-4.695),(-2.905,-4.695)])
R(ota5t, metal4_pin, [(-3.29,-7.345,-3.02,-7.075), (-3.29,-7.345,-3.02,-7.075)])
R(ota5t, lvpwell, [(-5.925,-14.605,5.925,-2.795), (-9.26,-1.39,9.26,14.61), (-6.06,0.89,-0.08,5.355), (0.08,0.89,6.06,5.355), (-6.06,7.025,-0.08,11.49), (0.08,7.025,6.06,11.49)])
ota5t.add(gdstk.Label('B', (0,12.575), layer=34, texttype=10))
ota5t.add(gdstk.Label('VSS', (-3.155,-7.21), layer=46, texttype=10))
ota5t.add(gdstk.Label('IBIAS', (1.87,-6.295), layer=42, texttype=10))
ota5t.add(gdstk.Label('VN', (-1.81,5.1), layer=36, texttype=10))
ota5t.add(gdstk.Label('VP', (1.81,5.1), layer=36, texttype=10))
ota5t.add(gdstk.Label('VDD', (0,29.655), layer=36, texttype=10))
ota5t.add(gdstk.Label('B', (0,12.575), layer=34, texttype=10))
ota5t.add(gdstk.Label('VSS', (-3.155,-7.21), layer=46, texttype=10))
ota5t.add(gdstk.Label('IBIAS', (1.87,-6.295), layer=42, texttype=10))
ota5t.add(gdstk.Label('OUT', (11.27,28.76), layer=36, texttype=10))
ota5t.add(gdstk.Label('VN', (-1.81,5.1), layer=36, texttype=10))
ota5t.add(gdstk.Label('VP', (1.81,5.1), layer=36, texttype=10))

lib.write_gds('ota5t.gds')
